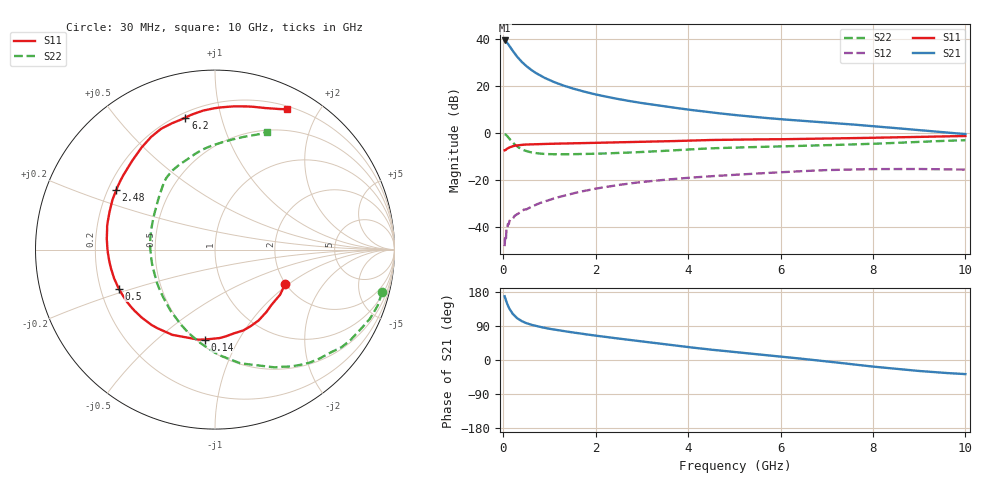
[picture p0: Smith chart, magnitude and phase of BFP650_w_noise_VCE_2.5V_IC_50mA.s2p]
! Infineon Technologies  Discrete & RF Semiconductors
! BFP650
! VCE =  2.5 V,  IC =  50 mA
! Common Emitter S-Parameters:  Jan 2016
# GHz  S  MA  R  50
!  f  S11  S21  S12  S22
! GHz  MAG  ANG  MAG  ANG  MAG  ANG  MAG  ANG
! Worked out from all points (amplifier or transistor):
!   229 points, 30 MHz to 10 GHz, reference 50 ohm
!   highest |S21| = 39.5 dB at 30 MHz (marker M1)
!   |S21| within 3 dB of that: start of sweep to 157.2 MHz
!   unconditionally stable (mu >= 1): 1.804 GHz to end of sweep
!   at 280 MHz: K = 0.46, MSG = 33.9 dB, |S12| = -34.7 dB
!   at 1.78 GHz: K = 1.00, MSG = 21.0 dB, |S12| = -24.4 dB
!   at 10 GHz: K = 1.03, MAG = 6.4 dB, |S12| = -15.4 dB
!   lowest NFmin = 0.97 dB at 450 MHz
!   S11 on the Smith chart (normalised r, x): 30 MHz: 1.99, -0.94; 140 MHz: 0.54, -0.73; 500 MHz: 0.28, -0.18; 2.48 GHz: 0.23, +0.26; 6.2 GHz: 0.23, +0.78; 10 GHz: 0.24, +1.61
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0.03  0.4356 -26.2  94.17 168.1  0.004 84.0  0.9607 -14.3
0.05  0.4403 -44.3  91.14 160.2  0.0066 64.4  0.9453 -24.0
0.06  0.4502 -50.4  90.16 157.1  0.0059 92.9  0.9279 -27.9
0.08  0.4703 -64.9  85.56 150.2  0.0094 75.3  0.8905 -37.6
0.11  0.4872 -82.9  78.18 141.4  0.0119 67.0  0.8218 -50.0
0.14  0.5043 -96.5  70.66 134.1  0.0139 63.0  0.7538 -60.0
0.2  0.5312 -116.6  57.8 122.7  0.015 56.9  0.6488 -77.5
0.24  0.543 -126.2  51 117.3  0.0172 56.0  0.5928 -86.7
0.3  0.5568 -137.1  42.69 110.5  0.0191 49.7  0.528 -98.6
0.4  0.5708 -149.5  33.16 102.7  0.0221 51.8  0.4604 -114.1
0.5  0.5786 -158.0  26.92 97.3  0.0242 52.5  0.4208 -126.2
0.7  0.5885 -169.1  19.34 89.9  0.0301 53.2  0.3811 -143.9
0.9  0.5955 -176.7  15.03 84.7  0.0357 54.3  0.3642 -156.7
1.2  0.6057 174.5  11.27 78.3  0.0442 53.9  0.3589 -170.5
1.7  0.62 163.3  7.935 69.4  0.0583 51.3  0.3636 173.5
2.48  0.6424 149.0  5.381 56.8  0.0795 45.4  0.3817 155.2
3.4  0.6722 134.4  3.854 43.0  0.1011 35.4  0.42 139.1
5.1  0.7378 113.0  2.404 19.9  0.133 19.2  0.5016 117.8
6.2  0.754 102.6  1.932 6.6  0.1522 8.6  0.5333 104.8
6.8  0.7708 96.9  1.755 -1.0  0.1623 2.4  0.5538 99.1
8.4  0.8174 77.4  1.315 -22.2  0.1745 -15.2  0.6215 80.9
10  0.8775 63.0  0.966 -37.2  0.1697 -27.8  0.7156 66.3
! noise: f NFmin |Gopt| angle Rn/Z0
0.45  0.97  0.2  -177  0.49
0.9  0.99  0.42  -167  0.06
1.9  1.12  0.45  -153  0.06
2.4  1.2  0.43  -143  0.08
3.5  1.43  0.46  -120  0.13
